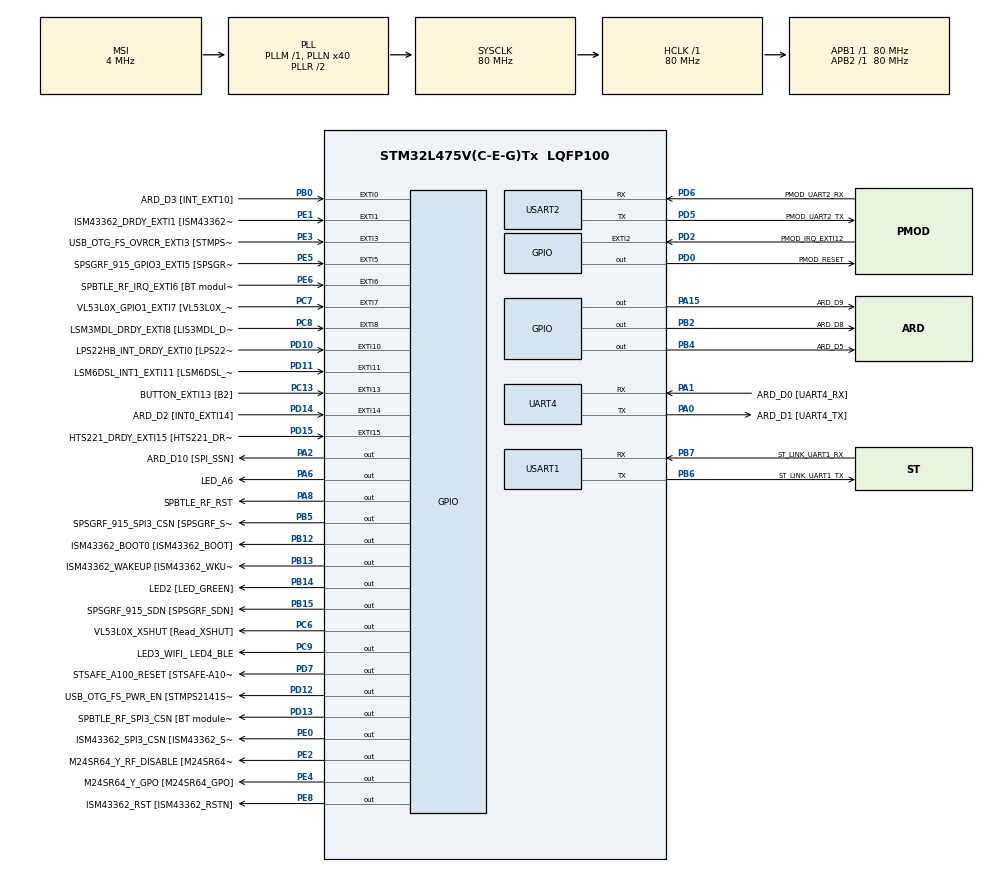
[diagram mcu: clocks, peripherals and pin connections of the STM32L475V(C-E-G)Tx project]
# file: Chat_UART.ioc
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Mcu.Family=STM32L4
Mcu.Name=STM32L475V(C-E-G)Tx
Mcu.Package=LQFP100
NVIC.EXTI15_10_IRQn=true\:0\:0\:false\:false\:true\:true\:true
NVIC.EXTI9_5_IRQn=true\:0\:0\:false\:false\:true\:true\:true
NVIC.PriorityGroup=NVIC_PRIORITYGROUP_4
NVIC.USART1_IRQn=true\:0\:0\:false\:false\:true\:true\:true
PA0.GPIO_Label=ARD_D1 [UART4_TX]
PA0.Mode=Asynchronous
PA0.Signal=UART4_TX
PA1.GPIO_Label=ARD_D0 [UART4_RX]
PA1.Mode=Asynchronous
PA1.Signal=UART4_RX
PA10.GPIO_Label=USB_OTG_FS_ID
PA10.Signal=USB_OTG_FS_ID
PA11.GPIO_Label=USB_OTG_FS_DM
PA11.Signal=USB_OTG_FS_DM
PA12.GPIO_Label=USB_OTG_FS_DP
PA12.Signal=USB_OTG_FS_DP
PA13\ (JTMS-SWDIO).GPIO_Label=SYS_JTMS_SWDIO
PA13\ (JTMS-SWDIO).Signal=SYS_JTMS-SWDIO
PA14\ (JTCK-SWCLK).GPIO_Label=SYS_JTCK_SWCLK
PA14\ (JTCK-SWCLK).Signal=SYS_JTCK-SWCLK
PA15\ (JTDI).GPIO_Label=ARD_D9
PA15\ (JTDI).Signal=GPIO_Output
PA2.GPIO_Label=ARD_D10 [SPI_SSN]
PA2.Signal=GPIO_Output
PA3.GPIO_Label=ARD_D4
PA3.Signal=S_TIM2_CH4
PA4.GPIO_Label=ARD_D7
PA4.Signal=ADCx_IN9
PA5.GPIO_Label=ARD_D13 [SPI1_SCK]
PA5.Signal=SPI1_SCK
PA6.GPIO_Label=LED_A6
PA6.Signal=GPIO_Output
PA7.GPIO_Label=ARD_D11 [SPI1_MOSI]
PA7.Signal=SPI1_MOSI
PA8.GPIO_Label=SPBTLE_RF_RST
PA8.Signal=GPIO_Output
PA9.GPIO_Label=USB_OTG_FS_VBUS [STMPS2141STR_OUT]
PA9.Signal=USB_OTG_FS_VBUS
PB0.GPIO_Label=ARD_D3 [INT_EXT10]
PB0.Signal=GPXTI0
PB1.GPIO_Label=ARD_D6 [ADC1_IN6]
PB1.Signal=ADCx_IN16
PB10.GPIO_Label=INTERNAL_I2C2_SCL [VL53L0X_SCL]
PB10.Signal=I2C2_SCL
PB11.GPIO_Label=INTERNAL_I2C2_SDA [VL53L0X_SDA]
PB11.Signal=I2C2_SDA
PB12.GPIO_Label=ISM43362_BOOT0 [ISM43362_BOOT]
PB12.Signal=GPIO_Output
PB13.GPIO_Label=ISM43362_WAKEUP [ISM43362_WKUP]
PB13.Signal=GPIO_Output
PB14.GPIO_Label=LED2 [LED_GREEN]
PB14.Signal=GPIO_Output
PB15.GPIO_Label=SPSGRF_915_SDN [SPSGRF_SDN]
PB15.Signal=GPIO_Output
PB2.GPIO_Label=ARD_D8
PB2.Signal=GPIO_Output
PB3\ (JTDO-TRACESWO).GPIO_Label=SYS_JTD0_SWO
PB3\ (JTDO-TRACESWO).Signal=SYS_JTDO-SWO
PB4\ (NJTRST).GPIO_Label=ARD_D5
PB4\ (NJTRST).Signal=GPIO_Output
PB5.GPIO_Label=SPSGRF_915_SPI3_CSN [SPSGRF_SPI_CS]
PB5.PinState=GPIO_PIN_SET
PB5.Signal=GPIO_Output
PB6.GPIO_Label=ST_LINK_UART1_TX
PB6.Mode=Asynchronous
PB6.Signal=USART1_TX
PB7.GPIO_Label=ST_LINK_UART1_RX
PB7.Mode=Asynchronous
PB7.Signal=USART1_RX
PB8.GPIO_Label=ARD_D15 [I2C1_SCL]
PB8.Signal=I2C1_SCL
PB9.GPIO_Label=ARD_D14 [I2C1_SDA]
PB9.Signal=I2C1_SDA
PC0.GPIO_Label=ARD_A5 [ADC]
PC0.Signal=ADCx_IN1
PC1.GPIO_Label=ARD_A4 [ADC]
PC1.Signal=ADCx_IN2
PC10.GPIO_Label=INTERNAL_SPI3_SCK [BT module_SPI_SCLK] [ISM43362_SCK]
PC10.Signal=SPI3_SCK
PC11.GPIO_Label=INTERNAL_SPI3_MISO [BT module_SPI_MISO] [ISM43362_MISO]
PC11.Signal=SPI3_MISO
PC12.GPIO_Label=INTERNAL_SPI3_MOSI [BT module_SPI_MOSI] [ISM43362_MOSI]
PC12.Signal=SPI3_MOSI
PC13.GPIO_Label=BUTTON_EXTI13 [B2]
PC13.GPIO_ModeDefaultEXTI=GPIO_MODE_IT_FALLING
PC13.Signal=GPXTI13
PC14-OSC32_IN\ (PC14).Mode=LSE-External-Oscillator
PC14-OSC32_IN\ (PC14).Signal=RCC_OSC32_IN
PC15-OSC32_OUT\ (PC15).Mode=LSE-External-Oscillator
PC15-OSC32_OUT\ (PC15).Signal=RCC_OSC32_OUT
PC2.GPIO_Label=ARD_A3 [ADC]
PC2.Signal=ADCx_IN3
PC3.GPIO_Label=ARD_A2 [ADC]
PC3.Signal=ADCx_IN4
PC4.GPIO_Label=ARD_A1 [ADC]
PC4.Signal=ADCx_IN13
PC5.GPIO_Label=ARD_A0 [ADC]
PC5.Signal=ADCx_IN14
PC6.GPIO_Label=VL53L0X_XSHUT [Read_XSHUT]
PC6.Signal=GPIO_Output
PC7.GPIO_Label=VL53L0X_GPIO1_EXTI7 [VL53L0X_GPIO1]
PC7.Signal=GPXTI7
PC8.GPIO_Label=LSM3MDL_DRDY_EXTI8 [LIS3MDL_DRDY]
PC8.Signal=GPXTI8
PC9.GPIO_Label=LED3_WIFI_ LED4_BLE
PC9.Signal=GPIO_Output
PD0.GPIO_Label=PMOD_RESET
PD0.Signal=GPIO_Output
PD1.GPIO_Label=PMOD_SPI2_SCK
PD1.Signal=SPI2_SCK
PD10.GPIO_Label=LPS22HB_INT_DRDY_EXTI0 [LPS22HB_INT_DRDY] 
PD10.Signal=GPXTI10
PD11.GPIO_Label=LSM6DSL_INT1_EXTI11 [LSM6DSL_INT1]
PD11.Signal=GPXTI11
PD12.GPIO_Label=USB_OTG_FS_PWR_EN [STMPS2141STR_EN]
PD12.Signal=GPIO_Output
PD13.GPIO_Label=SPBTLE_RF_SPI3_CSN [BT module_SPI_CS]
PD13.PinState=GPIO_PIN_SET
PD13.Signal=GPIO_Output
PD14.GPIO_Label=ARD_D2 [INT0_EXTI14]
PD14.Signal=GPXTI14
PD15.GPIO_Label=HTS221_DRDY_EXTI15 [HTS221_DRDY]
PD15.Signal=GPXTI15
PD2.GPIO_Label=PMOD_IRQ_EXTI12
PD2.Signal=GPXTI2
PD3.GPIO_Label=PMOD_UART2_CTS
PD3.Signal=USART2_CTS
PD4.GPIO_Label=PMOD_UART2_RTS
PD4.Signal=USART2_RTS
PD5.GPIO_Label=PMOD_UART2_TX
PD5.Mode=Asynchronous
PD5.Signal=USART2_TX
PD6.GPIO_Label=PMOD_UART2_RX
PD6.Mode=Asynchronous
PD6.Signal=USART2_RX
PD7.GPIO_Label=STSAFE_A100_RESET [STSAFE-A100_RESET]
PD7.Signal=GPIO_Output
PD8.GPIO_Label=INTERNAL_UART3_TX [ISM43362_RX]
PD8.Signal=USART3_TX
PD9.GPIO_Label=INTERNAL_UART3_RX [ISM43362_TX]
PD9.Signal=USART3_RX
PE0.GPIO_Label=ISM43362_SPI3_CSN [ISM43362_SSN]
PE0.PinState=GPIO_PIN_SET
PE0.Signal=GPIO_Output
PE1.GPIO_Label=ISM43362_DRDY_EXTI1 [ISM43362_DATARDY]
PE1.Signal=GPXTI1
PE10.GPIO_Label=QUADSPI_CLK [MX25R6435F_SCLK]
PE10.Signal=QUADSPI_CLK
PE11.GPIO_Label=QUADSPI_NCS [MX25R6435F_SCLK]
PE11.Signal=QUADSPI_NCS
PE12.GPIO_Label=OQUADSPI_BK1_IO0 [MX25R6435F_IO0]
PE12.Signal=QUADSPI_BK1_IO0
PE13.GPIO_Label=QUADSPI_BK1_IO1 [MX25R6435F_IO1]
PE13.Signal=QUADSPI_BK1_IO1
PE14.GPIO_Label=QUAD_SPI_BK1_IO2 [MX25R6435F_IO2]
PE14.Signal=QUADSPI_BK1_IO2
PE15.GPIO_Label=QUAD_SPI_BK1_IO3 [MX25R6435F_IO3]
PE15.Signal=QUADSPI_BK1_IO3
PE2.GPIO_Label=M24SR64_Y_RF_DISABLE [M24SR64_RFDIS]
PE2.Signal=GPIO_Output
PE3.GPIO_Label=USB_OTG_FS_OVRCR_EXTI3 [STMPS2141STR_FAULT]
PE3.Signal=GPXTI3
PE4.GPIO_Label=M24SR64_Y_GPO [M24SR64_GPO]
PE4.Signal=GPIO_Output
PE5.GPIO_Label=SPSGRF_915_GPIO3_EXTI5 [SPSGRF_GPIO_3]
PE5.Signal=GPXTI5
PE6.GPIO_Label=SPBTLE_RF_IRQ_EXTI6 [BT module_SPI_IRQ]
PE6.Signal=GPXTI6
PE7.GPIO_Label=DFSDM1_DATIN2 [MP34DT01_DOUT]
PE7.Signal=S_DATAIN2DFSDM1
PE8.GPIO_Label=ISM43362_RST [ISM43362_RSTN]
PE8.Signal=GPIO_Output
PE9.GPIO_Label=DFSDM1_CKOUT [MP34DT01_CLK]
PE9.Signal=S_CKOUTDFSDM1
ProjectManager.HeapSize=0x200
ProjectManager.StackSize=0x400
ProjectManager.TargetToolchain=STM32CubeIDE
RCC.ADCFreq_Value=48000000
RCC.AHBFreq_Value=80000000
RCC.APB1Freq_Value=80000000
RCC.APB1TimFreq_Value=80000000
RCC.APB2Freq_Value=80000000
RCC.APB2TimFreq_Value=80000000
RCC.CortexFreq_Value=80000000
RCC.HCLKFreq_Value=80000000
RCC.HSE_VALUE=8000000
RCC.HSI_VALUE=16000000
RCC.MSI_VALUE=4000000
RCC.PLLN=40
RCC.PLLSAI1N=24
RCC.SYSCLKFreq_VALUE=80000000
RCC.SYSCLKSource=RCC_SYSCLKSOURCE_PLLCLK
RCC.USBFreq_Value=48000000
RCC.VCOOutputFreq_Value=160000000
SH.ADCx_IN1.0=ADC1_IN1
SH.ADCx_IN13.0=ADC1_IN13
SH.ADCx_IN14.0=ADC1_IN14
SH.ADCx_IN16.0=ADC1_IN16
SH.ADCx_IN2.0=ADC1_IN2
SH.ADCx_IN3.0=ADC1_IN3
SH.ADCx_IN4.0=ADC1_IN4
SH.ADCx_IN9.0=ADC1_IN9
SH.S_CKOUTDFSDM1.0=DFSDM1_CKOUT
SH.S_DATAIN2DFSDM1.0=DFSDM1_DATIN2
SH.S_TIM2_CH4.0=TIM2_CH4
USART1.VirtualMode-Asynchronous=VM_ASYNC
USART2.VirtualMode-Asynchronous=VM_ASYNC
board=B-L475E-IOT01A1

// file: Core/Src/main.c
/* USER CODE BEGIN Header */
/**
  ******************************************************************************
  * @file           : main.c
  * @brief          : Main program body
  ******************************************************************************
  * @attention
  *
  * <h2><center>&copy; Copyright (c) 2022 STMicroelectronics.
  * All rights reserved.</center></h2>
  *
  * This software component is licensed by ST under BSD 3-Clause license,
  * the "License"; You may not use this file except in compliance with the
  * License. You may obtain a copy of the License at:
  *                        opensource.org/licenses/BSD-3-Clause
  *
  ******************************************************************************
  */
/* USER CODE END Header */
#include "main.h"

/* USER CODE BEGIN Includes */
#include <stdio.h>
#include <stdlib.h>
#include <string.h>
/* USER CODE END Includes */

/* USER CODE BEGIN PM */
#define UART1_Size 20
#define UART4_Size 20
/* USER CODE END PM */

UART_HandleTypeDef huart4;
UART_HandleTypeDef huart1;
UART_HandleTypeDef huart2;

void SystemClock_Config(void);
static void MX_GPIO_Init(void);
static void MX_USART1_UART_Init(void);
static void MX_USART2_UART_Init(void);
static void MX_UART4_Init(void);

/* USER CODE BEGIN 0 */
uint8_t msg1[] = "Hi, Welcome to UART1!! \r\n";
uint8_t msg2[] = "Hi, Welcome to UART2!! \r\n";
uint8_t UART1_rxBuffer[UART1_Size ] = {0};
uint8_t UART4_rxBuffer[UART4_Size ] = {0};
/* USER CODE END 0 */

int main(void)
{

  /* MCU Configuration--------------------------------------------------------*/

  /* Reset of all peripherals, Initializes the Flash interface and the Systick. */
  HAL_Init();

  /* Configure the system clock */
  SystemClock_Config();

  /* Initialize all configured peripherals */
  MX_GPIO_Init();
  MX_USART1_UART_Init();
  MX_USART2_UART_Init();
  MX_UART4_Init();
  /* USER CODE BEGIN 2 */
	HAL_UART_Transmit(&huart1, msg1, sizeof(msg1), 1000);
	HAL_UART_Transmit(&huart4, msg2, sizeof(msg2), 1000);
  /* USER CODE END 2 */

  /* Infinite loop */
  /* USER CODE BEGIN WHILE */

  uint8_t size1=0;
  uint8_t size2=0;

  while (1)
  {
    /* USER CODE END WHILE */

    /* USER CODE BEGIN 3 */

/*

	  if((HAL_UART_Receive (&huart1, UART1_rxBuffer, UART1_Size, 1000) && (HAL_OK | HAL_TIMEOUT))|(HAL_UART_Receive(&huart4, UART4_rxBuffer, UART4_Size , 1000) && (HAL_OK | HAL_TIMEOUT)))
	  {
		  size1 = strlen(UART1_rxBuffer);
		  size2 = strlen(UART4_rxBuffer);

		  if ((UART4_rxBuffer[size2-1] == '\r') || (size2 == UART4_Size))
		  {
			  UART4_rxBuffer[size2] = '\n';
			  HAL_UART_Transmit(&huart1, UART4_rxBuffer, UART4_Size , 10);
			  //size2 == UART4_Size-1;
			  memset(UART4_rxBuffer, 0, UART4_Size );
		  }
		  else if ((UART1_rxBuffer[size1-1] == '\r') || (size1 == UART1_Size))
		  {
			  UART1_rxBuffer[size1] = '\n';
			  HAL_UART_Transmit(&huart4, UART1_rxBuffer, UART1_Size, 10);
			  memset(UART1_rxBuffer, 0, UART1_Size);

		  }

	  }

*/

		  if(HAL_UART_Receive(&huart4, UART4_rxBuffer, UART4_Size , 700) && (HAL_OK | HAL_TIMEOUT))
		  {

			  size2 = strlen(UART4_rxBuffer);
			  printf("BUFFER 4 SIZE OF INPUT :%d\n",size2);
			  if((UART4_rxBuffer[size2-1] == '\r') || (size2 == UART4_Size))
			  {
				  printf("IN IF BUFFER 4 SIZE OF INPUT :%d\n",size2);
				  UART4_rxBuffer[size2-1] = '\r';
				  UART4_rxBuffer[size2] = '\n';
				  HAL_UART_Transmit(&huart1, UART4_rxBuffer, UART4_Size , 2);
				  memset(UART4_rxBuffer, 0, UART4_Size );

			  }

		  }

		  if(HAL_UART_Receive (&huart1, UART1_rxBuffer, UART1_Size, 700) && (HAL_OK | HAL_TIMEOUT))
		    {
		  	  size1 = strlen(UART1_rxBuffer);
		  	  printf("BUFFER 1 SIZE OF INPUT :%d\n",size1);

		  	  if((UART1_rxBuffer[size1-1] == '\r') || (size1 == UART1_Size))
		  	  {
		  		  printf("IN IF BUFFER 1 SIZE OF INPUT :%d\n",size1);
		  		  UART1_rxBuffer[size1-1] = '\r';
		  		  UART1_rxBuffer[size1] = '\n';
		  		  HAL_UART_Transmit(&huart4, UART1_rxBuffer, UART1_Size, 2);
		  		  memset(UART1_rxBuffer, 0, UART1_Size);

		  	  }

		    }

	/**/

  }
  /* USER CODE END 3 */
}

void SystemClock_Config(void)
{
  RCC_OscInitTypeDef RCC_OscInitStruct = {0};
  RCC_ClkInitTypeDef RCC_ClkInitStruct = {0};

  /** Configure the main internal regulator output voltage
  */
  if (HAL_PWREx_ControlVoltageScaling(PWR_REGULATOR_VOLTAGE_SCALE1) != HAL_OK)
  {
    Error_Handler();
  }
  /** Configure LSE Drive Capability
  */
  HAL_PWR_EnableBkUpAccess();
  __HAL_RCC_LSEDRIVE_CONFIG(RCC_LSEDRIVE_LOW);
  /** Initializes the RCC Oscillators according to the specified parameters
  * in the RCC_OscInitTypeDef structure.
  */
  RCC_OscInitStruct.OscillatorType = RCC_OSCILLATORTYPE_LSE|RCC_OSCILLATORTYPE_MSI;
  RCC_OscInitStruct.LSEState = RCC_LSE_ON;
  RCC_OscInitStruct.MSIState = RCC_MSI_ON;
  RCC_OscInitStruct.MSICalibrationValue = 0;
  RCC_OscInitStruct.MSIClockRange = RCC_MSIRANGE_6;
  RCC_OscInitStruct.PLL.PLLState = RCC_PLL_ON;
  RCC_OscInitStruct.PLL.PLLSource = RCC_PLLSOURCE_MSI;
  RCC_OscInitStruct.PLL.PLLM = 1;
  RCC_OscInitStruct.PLL.PLLN = 40;
  RCC_OscInitStruct.PLL.PLLP = RCC_PLLP_DIV7;
  RCC_OscInitStruct.PLL.PLLQ = RCC_PLLQ_DIV2;
  RCC_OscInitStruct.PLL.PLLR = RCC_PLLR_DIV2;
  if (HAL_RCC_OscConfig(&RCC_OscInitStruct) != HAL_OK)
  {
    Error_Handler();
  }
  /** Initializes the CPU, AHB and APB buses clocks
  */
  RCC_ClkInitStruct.ClockType = RCC_CLOCKTYPE_HCLK|RCC_CLOCKTYPE_SYSCLK
                              |RCC_CLOCKTYPE_PCLK1|RCC_CLOCKTYPE_PCLK2;
  RCC_ClkInitStruct.SYSCLKSource = RCC_SYSCLKSOURCE_PLLCLK;
  RCC_ClkInitStruct.AHBCLKDivider = RCC_SYSCLK_DIV1;
  RCC_ClkInitStruct.APB1CLKDivider = RCC_HCLK_DIV1;
  RCC_ClkInitStruct.APB2CLKDivider = RCC_HCLK_DIV1;

  if (HAL_RCC_ClockConfig(&RCC_ClkInitStruct, FLASH_LATENCY_4) != HAL_OK)
  {
    Error_Handler();
  }
  /** Enable MSI Auto calibration
  */
  HAL_RCCEx_EnableMSIPLLMode();
}

static void MX_UART4_Init(void)
{

  huart4.Instance = UART4;
  huart4.Init.BaudRate = 115200;
  huart4.Init.WordLength = UART_WORDLENGTH_8B;
  huart4.Init.StopBits = UART_STOPBITS_1;
  huart4.Init.Parity = UART_PARITY_NONE;
  huart4.Init.Mode = UART_MODE_TX_RX;
  huart4.Init.HwFlowCtl = UART_HWCONTROL_NONE;
  huart4.Init.OverSampling = UART_OVERSAMPLING_16;
  huart4.Init.OneBitSampling = UART_ONE_BIT_SAMPLE_DISABLE;
  huart4.AdvancedInit.AdvFeatureInit = UART_ADVFEATURE_NO_INIT;
  if (HAL_UART_Init(&huart4) != HAL_OK)
  {
    Error_Handler();
  }

}

static void MX_USART1_UART_Init(void)
{

  huart1.Instance = USART1;
  huart1.Init.BaudRate = 115200;
  huart1.Init.WordLength = UART_WORDLENGTH_8B;
  huart1.Init.StopBits = UART_STOPBITS_1;
  huart1.Init.Parity = UART_PARITY_NONE;
  huart1.Init.Mode = UART_MODE_TX_RX;
  huart1.Init.HwFlowCtl = UART_HWCONTROL_NONE;
  huart1.Init.OverSampling = UART_OVERSAMPLING_16;
  huart1.Init.OneBitSampling = UART_ONE_BIT_SAMPLE_DISABLE;
  huart1.AdvancedInit.AdvFeatureInit = UART_ADVFEATURE_NO_INIT;
  if (HAL_UART_Init(&huart1) != HAL_OK)
  {
    Error_Handler();
  }

}

static void MX_USART2_UART_Init(void)
{

  huart2.Instance = USART2;
  huart2.Init.BaudRate = 115200;
  huart2.Init.WordLength = UART_WORDLENGTH_8B;
  huart2.Init.StopBits = UART_STOPBITS_1;
  huart2.Init.Parity = UART_PARITY_NONE;
  huart2.Init.Mode = UART_MODE_TX_RX;
  huart2.Init.HwFlowCtl = UART_HWCONTROL_NONE;
  huart2.Init.OverSampling = UART_OVERSAMPLING_16;
  huart2.Init.OneBitSampling = UART_ONE_BIT_SAMPLE_DISABLE;
  huart2.AdvancedInit.AdvFeatureInit = UART_ADVFEATURE_NO_INIT;
  if (HAL_UART_Init(&huart2) != HAL_OK)
  {
    Error_Handler();
  }

}

static void MX_GPIO_Init(void)
{
  GPIO_InitTypeDef GPIO_InitStruct = {0};

  /* GPIO Ports Clock Enable */
  __HAL_RCC_GPIOE_CLK_ENABLE();
  __HAL_RCC_GPIOC_CLK_ENABLE();
  __HAL_RCC_GPIOA_CLK_ENABLE();
  __HAL_RCC_GPIOB_CLK_ENABLE();
  __HAL_RCC_GPIOD_CLK_ENABLE();

  /*Configure GPIO pin Output Level */
  HAL_GPIO_WritePin(GPIOE, M24SR64_Y_RF_DISABLE_Pin|M24SR64_Y_GPO_Pin|ISM43362_RST_Pin, GPIO_PIN_RESET);

  /*Configure GPIO pin Output Level */
  HAL_GPIO_WritePin(GPIOA, ARD_D10_Pin|LED_A6_Pin|SPBTLE_RF_RST_Pin|ARD_D9_Pin, GPIO_PIN_RESET);

  /*Configure GPIO pin Output Level */
  HAL_GPIO_WritePin(GPIOB, ARD_D8_Pin|ISM43362_BOOT0_Pin|ISM43362_WAKEUP_Pin|LED2_Pin
                          |SPSGRF_915_SDN_Pin|ARD_D5_Pin, GPIO_PIN_RESET);

  /*Configure GPIO pin Output Level */
  HAL_GPIO_WritePin(GPIOD, USB_OTG_FS_PWR_EN_Pin|PMOD_RESET_Pin|STSAFE_A100_RESET_Pin, GPIO_PIN_RESET);

  /*Configure GPIO pin Output Level */
  HAL_GPIO_WritePin(SPBTLE_RF_SPI3_CSN_GPIO_Port, SPBTLE_RF_SPI3_CSN_Pin, GPIO_PIN_SET);

  /*Configure GPIO pin Output Level */
  HAL_GPIO_WritePin(GPIOC, VL53L0X_XSHUT_Pin|LED3_WIFI__LED4_BLE_Pin, GPIO_PIN_RESET);

  /*Configure GPIO pin Output Level */
  HAL_GPIO_WritePin(SPSGRF_915_SPI3_CSN_GPIO_Port, SPSGRF_915_SPI3_CSN_Pin, GPIO_PIN_SET);

  /*Configure GPIO pin Output Level */
  HAL_GPIO_WritePin(ISM43362_SPI3_CSN_GPIO_Port, ISM43362_SPI3_CSN_Pin, GPIO_PIN_SET);

  /*Configure GPIO pins : M24SR64_Y_RF_DISABLE_Pin M24SR64_Y_GPO_Pin ISM43362_RST_Pin ISM43362_SPI3_CSN_Pin */
  GPIO_InitStruct.Pin = M24SR64_Y_RF_DISABLE_Pin|M24SR64_Y_GPO_Pin|ISM43362_RST_Pin|ISM43362_SPI3_CSN_Pin;
  GPIO_InitStruct.Mode = GPIO_MODE_OUTPUT_PP;
  GPIO_InitStruct.Pull = GPIO_NOPULL;
  GPIO_InitStruct.Speed = GPIO_SPEED_FREQ_LOW;
  HAL_GPIO_Init(GPIOE, &GPIO_InitStruct);

  /*Configure GPIO pins : USB_OTG_FS_OVRCR_EXTI3_Pin SPSGRF_915_GPIO3_EXTI5_Pin SPBTLE_RF_IRQ_EXTI6_Pin ISM43362_DRDY_EXTI1_Pin */
  GPIO_InitStruct.Pin = USB_OTG_FS_OVRCR_EXTI3_Pin|SPSGRF_915_GPIO3_EXTI5_Pin|SPBTLE_RF_IRQ_EXTI6_Pin|ISM43362_DRDY_EXTI1_Pin;
  GPIO_InitStruct.Mode = GPIO_MODE_IT_RISING;
  GPIO_InitStruct.Pull = GPIO_NOPULL;
  HAL_GPIO_Init(GPIOE, &GPIO_InitStruct);

  /*Configure GPIO pin : BUTTON_EXTI13_Pin */
  GPIO_InitStruct.Pin = BUTTON_EXTI13_Pin;
  GPIO_InitStruct.Mode = GPIO_MODE_IT_FALLING;
  GPIO_InitStruct.Pull = GPIO_NOPULL;
  HAL_GPIO_Init(BUTTON_EXTI13_GPIO_Port, &GPIO_InitStruct);

  /*Configure GPIO pins : ARD_A5_Pin ARD_A4_Pin ARD_A3_Pin ARD_A2_Pin
                           ARD_A1_Pin ARD_A0_Pin */
  GPIO_InitStruct.Pin = ARD_A5_Pin|ARD_A4_Pin|ARD_A3_Pin|ARD_A2_Pin
                          |ARD_A1_Pin|ARD_A0_Pin;
  GPIO_InitStruct.Mode = GPIO_MODE_ANALOG_ADC_CONTROL;
  GPIO_InitStruct.Pull = GPIO_NOPULL;
  HAL_GPIO_Init(GPIOC, &GPIO_InitStruct);

  /*Configure GPIO pins : ARD_D10_Pin LED_A6_Pin SPBTLE_RF_RST_Pin ARD_D9_Pin */
  GPIO_InitStruct.Pin = ARD_D10_Pin|LED_A6_Pin|SPBTLE_RF_RST_Pin|ARD_D9_Pin;
  GPIO_InitStruct.Mode = GPIO_MODE_OUTPUT_PP;
  GPIO_InitStruct.Pull = GPIO_NOPULL;
  GPIO_InitStruct.Speed = GPIO_SPEED_FREQ_LOW;
  HAL_GPIO_Init(GPIOA, &GPIO_InitStruct);

  /*Configure GPIO pin : ARD_D4_Pin */
  GPIO_InitStruct.Pin = ARD_D4_Pin;
  GPIO_InitStruct.Mode = GPIO_MODE_AF_PP;
  GPIO_InitStruct.Pull = GPIO_NOPULL;
  GPIO_InitStruct.Speed = GPIO_SPEED_FREQ_LOW;
  GPIO_InitStruct.Alternate = GPIO_AF1_TIM2;
  HAL_GPIO_Init(ARD_D4_GPIO_Port, &GPIO_InitStruct);

  /*Configure GPIO pin : ARD_D7_Pin */
  GPIO_InitStruct.Pin = ARD_D7_Pin;
  GPIO_InitStruct.Mode = GPIO_MODE_ANALOG_ADC_CONTROL;
  GPIO_InitStruct.Pull = GPIO_NOPULL;
  HAL_GPIO_Init(ARD_D7_GPIO_Port, &GPIO_InitStruct);

  /*Configure GPIO pins : ARD_D13_Pin ARD_D11_Pin */
  GPIO_InitStruct.Pin = ARD_D13_Pin|ARD_D11_Pin;
  GPIO_InitStruct.Mode = GPIO_MODE_AF_PP;
  GPIO_InitStruct.Pull = GPIO_NOPULL;
  GPIO_InitStruct.Speed = GPIO_SPEED_FREQ_VERY_HIGH;
  GPIO_InitStruct.Alternate = GPIO_AF5_SPI1;
  HAL_GPIO_Init(GPIOA, &GPIO_InitStruct);

  /*Configure GPIO pin : ARD_D3_Pin */
  GPIO_InitStruct.Pin = ARD_D3_Pin;
  GPIO_InitStruct.Mode = GPIO_MODE_IT_RISING;
  GPIO_InitStruct.Pull = GPIO_NOPULL;
  HAL_GPIO_Init(ARD_D3_GPIO_Port, &GPIO_InitStruct);

  /*Configure GPIO pin : ARD_D6_Pin */
  GPIO_InitStruct.Pin = ARD_D6_Pin;
  GPIO_InitStruct.Mode = GPIO_MODE_ANALOG_ADC_CONTROL;
  GPIO_InitStruct.Pull = GPIO_NOPULL;
  HAL_GPIO_Init(ARD_D6_GPIO_Port, &GPIO_InitStruct);

  /*Configure GPIO pins : ARD_D8_Pin ISM43362_BOOT0_Pin ISM43362_WAKEUP_Pin LED2_Pin
                           SPSGRF_915_SDN_Pin ARD_D5_Pin SPSGRF_915_SPI3_CSN_Pin */
  GPIO_InitStruct.Pin = ARD_D8_Pin|ISM43362_BOOT0_Pin|ISM43362_WAKEUP_Pin|LED2_Pin
                          |SPSGRF_915_SDN_Pin|ARD_D5_Pin|SPSGRF_915_SPI3_CSN_Pin;
  GPIO_InitStruct.Mode = GPIO_MODE_OUTPUT_PP;
  GPIO_InitStruct.Pull = GPIO_NOPULL;
  GPIO_InitStruct.Speed = GPIO_SPEED_FREQ_LOW;
  HAL_GPIO_Init(GPIOB, &GPIO_InitStruct);

  /*Configure GPIO pins : DFSDM1_DATIN2_Pin DFSDM1_CKOUT_Pin */
  GPIO_InitStruct.Pin = DFSDM1_DATIN2_Pin|DFSDM1_CKOUT_Pin;
  GPIO_InitStruct.Mode = GPIO_MODE_AF_PP;
  GPIO_InitStruct.Pull = GPIO_NOPULL;
  GPIO_InitStruct.Speed = GPIO_SPEED_FREQ_LOW;
  GPIO_InitStruct.Alternate = GPIO_AF6_DFSDM1;
  HAL_GPIO_Init(GPIOE, &GPIO_InitStruct);

  /*Configure GPIO pins : QUADSPI_CLK_Pin QUADSPI_NCS_Pin OQUADSPI_BK1_IO0_Pin QUADSPI_BK1_IO1_Pin
                           QUAD_SPI_BK1_IO2_Pin QUAD_SPI_BK1_IO3_Pin */
  GPIO_InitStruct.Pin = QUADSPI_CLK_Pin|QUADSPI_NCS_Pin|OQUADSPI_BK1_IO0_Pin|QUADSPI_BK1_IO1_Pin
                          |QUAD_SPI_BK1_IO2_Pin|QUAD_SPI_BK1_IO3_Pin;
  GPIO_InitStruct.Mode = GPIO_MODE_AF_PP;
  GPIO_InitStruct.Pull = GPIO_NOPULL;
  GPIO_InitStruct.Speed = GPIO_SPEED_FREQ_VERY_HIGH;
  GPIO_InitStruct.Alternate = GPIO_AF10_QUADSPI;
  HAL_GPIO_Init(GPIOE, &GPIO_InitStruct);

  /*Configure GPIO pins : INTERNAL_I2C2_SCL_Pin INTERNAL_I2C2_SDA_Pin */
  GPIO_InitStruct.Pin = INTERNAL_I2C2_SCL_Pin|INTERNAL_I2C2_SDA_Pin;
  GPIO_InitStruct.Mode = GPIO_MODE_AF_OD;
  GPIO_InitStruct.Pull = GPIO_NOPULL;
  GPIO_InitStruct.Speed = GPIO_SPEED_FREQ_VERY_HIGH;
  GPIO_InitStruct.Alternate = GPIO_AF4_I2C2;
  HAL_GPIO_Init(GPIOB, &GPIO_InitStruct);

  /*Configure GPIO pins : INTERNAL_UART3_TX_Pin INTERNAL_UART3_RX_Pin */
  GPIO_InitStruct.Pin = INTERNAL_UART3_TX_Pin|INTERNAL_UART3_RX_Pin;
  GPIO_InitStruct.Mode = GPIO_MODE_AF_PP;
  GPIO_InitStruct.Pull = GPIO_NOPULL;
  GPIO_InitStruct.Speed = GPIO_SPEED_FREQ_VERY_HIGH;
  GPIO_InitStruct.Alternate = GPIO_AF7_USART3;
  HAL_GPIO_Init(GPIOD, &GPIO_InitStruct);

  /*Configure GPIO pins : LPS22HB_INT_DRDY_EXTI0_Pin LSM6DSL_INT1_EXTI11_Pin ARD_D2_Pin HTS221_DRDY_EXTI15_Pin
                           PMOD_IRQ_EXTI12_Pin */
  GPIO_InitStruct.Pin = LPS22HB_INT_DRDY_EXTI0_Pin|LSM6DSL_INT1_EXTI11_Pin|ARD_D2_Pin|HTS221_DRDY_EXTI15_Pin
                          |PMOD_IRQ_EXTI12_Pin;
  GPIO_InitStruct.Mode = GPIO_MODE_IT_RISING;
  GPIO_InitStruct.Pull = GPIO_NOPULL;
  HAL_GPIO_Init(GPIOD, &GPIO_InitStruct);

  /*Configure GPIO pins : USB_OTG_FS_PWR_EN_Pin SPBTLE_RF_SPI3_CSN_Pin PMOD_RESET_Pin STSAFE_A100_RESET_Pin */
  GPIO_InitStruct.Pin = USB_OTG_FS_PWR_EN_Pin|SPBTLE_RF_SPI3_CSN_Pin|PMOD_RESET_Pin|STSAFE_A100_RESET_Pin;
  GPIO_InitStruct.Mode = GPIO_MODE_OUTPUT_PP;
  GPIO_InitStruct.Pull = GPIO_NOPULL;
  GPIO_InitStruct.Speed = GPIO_SPEED_FREQ_LOW;
  HAL_GPIO_Init(GPIOD, &GPIO_InitStruct);

  /*Configure GPIO pins : VL53L0X_XSHUT_Pin LED3_WIFI__LED4_BLE_Pin */
  GPIO_InitStruct.Pin = VL53L0X_XSHUT_Pin|LED3_WIFI__LED4_BLE_Pin;
  GPIO_InitStruct.Mode = GPIO_MODE_OUTPUT_PP;
  GPIO_InitStruct.Pull = GPIO_NOPULL;
  GPIO_InitStruct.Speed = GPIO_SPEED_FREQ_LOW;
  HAL_GPIO_Init(GPIOC, &GPIO_InitStruct);

  /*Configure GPIO pins : VL53L0X_GPIO1_EXTI7_Pin LSM3MDL_DRDY_EXTI8_Pin */
  GPIO_InitStruct.Pin = VL53L0X_GPIO1_EXTI7_Pin|LSM3MDL_DRDY_EXTI8_Pin;
  GPIO_InitStruct.Mode = GPIO_MODE_IT_RISING;
  GPIO_InitStruct.Pull = GPIO_NOPULL;
  HAL_GPIO_Init(GPIOC, &GPIO_InitStruct);

  /*Configure GPIO pin : USB_OTG_FS_VBUS_Pin */
  GPIO_InitStruct.Pin = USB_OTG_FS_VBUS_Pin;
  GPIO_InitStruct.Mode = GPIO_MODE_INPUT;
  GPIO_InitStruct.Pull = GPIO_NOPULL;
  HAL_GPIO_Init(USB_OTG_FS_VBUS_GPIO_Port, &GPIO_InitStruct);

  /*Configure GPIO pins : USB_OTG_FS_ID_Pin USB_OTG_FS_DM_Pin USB_OTG_FS_DP_Pin */
  GPIO_InitStruct.Pin = USB_OTG_FS_ID_Pin|USB_OTG_FS_DM_Pin|USB_OTG_FS_DP_Pin;
  GPIO_InitStruct.Mode = GPIO_MODE_AF_PP;
  GPIO_InitStruct.Pull = GPIO_NOPULL;
  GPIO_InitStruct.Speed = GPIO_SPEED_FREQ_VERY_HIGH;
  GPIO_InitStruct.Alternate = GPIO_AF10_OTG_FS;
  HAL_GPIO_Init(GPIOA, &GPIO_InitStruct);

  /*Configure GPIO pins : INTERNAL_SPI3_SCK_Pin INTERNAL_SPI3_MISO_Pin INTERNAL_SPI3_MOSI_Pin */
  GPIO_InitStruct.Pin = INTERNAL_SPI3_SCK_Pin|INTERNAL_SPI3_MISO_Pin|INTERNAL_SPI3_MOSI_Pin;
  GPIO_InitStruct.Mode = GPIO_MODE_AF_PP;
  GPIO_InitStruct.Pull = GPIO_NOPULL;
  GPIO_InitStruct.Speed = GPIO_SPEED_FREQ_VERY_HIGH;
  GPIO_InitStruct.Alternate = GPIO_AF6_SPI3;
  HAL_GPIO_Init(GPIOC, &GPIO_InitStruct);

  /*Configure GPIO pin : PMOD_SPI2_SCK_Pin */
  GPIO_InitStruct.Pin = PMOD_SPI2_SCK_Pin;
  GPIO_InitStruct.Mode = GPIO_MODE_AF_PP;
  GPIO_InitStruct.Pull = GPIO_NOPULL;
  GPIO_InitStruct.Speed = GPIO_SPEED_FREQ_VERY_HIGH;
  GPIO_InitStruct.Alternate = GPIO_AF5_SPI2;
  HAL_GPIO_Init(PMOD_SPI2_SCK_GPIO_Port, &GPIO_InitStruct);

  /*Configure GPIO pins : ARD_D15_Pin ARD_D14_Pin */
  GPIO_InitStruct.Pin = ARD_D15_Pin|ARD_D14_Pin;
  GPIO_InitStruct.Mode = GPIO_MODE_AF_OD;
  GPIO_InitStruct.Pull = GPIO_NOPULL;
  GPIO_InitStruct.Speed = GPIO_SPEED_FREQ_VERY_HIGH;
  GPIO_InitStruct.Alternate = GPIO_AF4_I2C1;
  HAL_GPIO_Init(GPIOB, &GPIO_InitStruct);

  /* EXTI interrupt init*/
  HAL_NVIC_SetPriority(EXTI9_5_IRQn, 0, 0);
  HAL_NVIC_EnableIRQ(EXTI9_5_IRQn);

  HAL_NVIC_SetPriority(EXTI15_10_IRQn, 0, 0);
  HAL_NVIC_EnableIRQ(EXTI15_10_IRQn);

}

void Error_Handler(void)
{
  __disable_irq();
  while (1)
  {
  }
}

/************************ (C) COPYRIGHT STMicroelectronics *****END OF FILE****/
